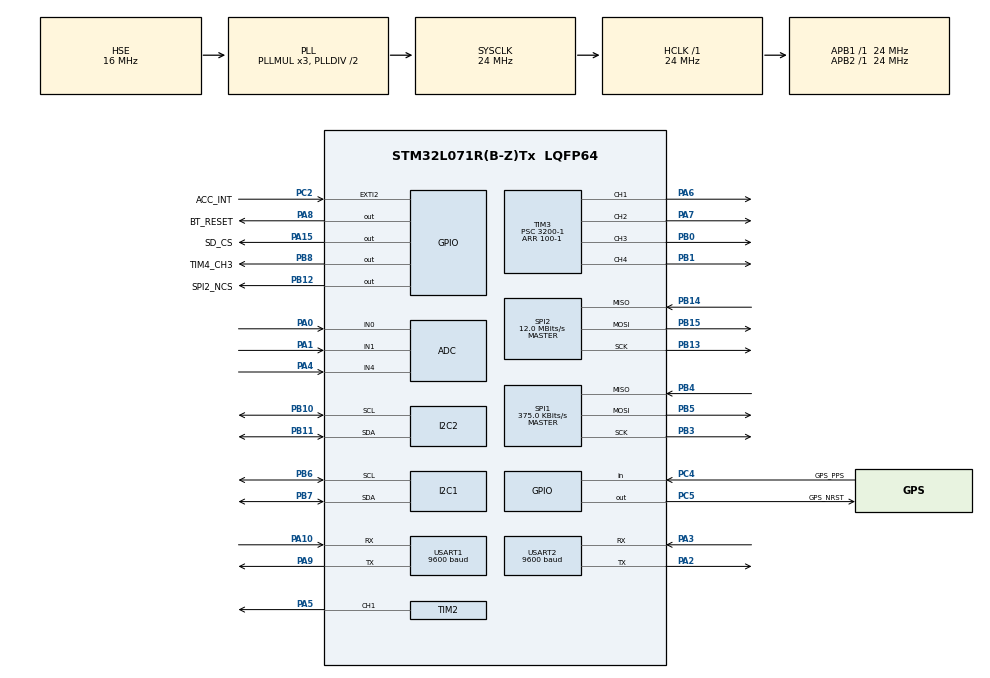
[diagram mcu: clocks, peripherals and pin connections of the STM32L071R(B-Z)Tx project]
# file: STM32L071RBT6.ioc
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Mcu.Family=STM32L0
PH0-OSC_IN.Signal=RCC_OSC_IN
SPI1.VirtualType=VM_MASTER
SPI2.VirtualType=VM_MASTER
PB10.Mode=I2C
USART1.BaudRate=9600
I2C2.Timing=0x00506682
I2C2.NoStretchMode=I2C_NOSTRETCH_DISABLE
PB11.Signal=I2C2_SDA
PB13.Signal=SPI2_SCK
PB15.Signal=SPI2_MOSI
TIM3.Channel-PWM\ Generation4\ CH4=TIM_CHANNEL_4
RCC.SYSCLKSource=RCC_SYSCLKSOURCE_PLLCLK
ProjectManager.StackSize=0x400
PA15.GPIO_Label=SD_CS
PA4.Mode=IN4
SPI1.Direction=SPI_DIRECTION_2LINES
RCC.HCLKFreq_Value=24000000
RCC.APB2TimFreq_Value=24000000
TIM3.Period=100-1
PB6.Signal=I2C1_SCL
PB6.Mode=I2C
SPI1.CalculateBaudRate=375.0 KBits/s
RCC.AHBFreq_Value=24000000
PH0-OSC_IN.Mode=HSE-External-Oscillator
TIM3.Channel-PWM\ Generation1\ CH1=TIM_CHANNEL_1
RCC.HSE_VALUE=16000000
PB3.Mode=Full_Duplex_Master
USART2.VirtualMode-Asynchronous=VM_ASYNC
PB12.GPIO_Label=SPI2_NCS
PB4.Mode=Full_Duplex_Master
I2C1.NoStretchMode=I2C_NOSTRETCH_DISABLE
PC4.GPIO_Label=GPS_PPS
PA14.Mode=Serial_Wire
PB14.Mode=Full_Duplex_Master
TIM3.Prescaler=3200-1
PB5.Mode=Full_Duplex_Master
PA0.Mode=IN0
SPI2.CalculateBaudRate=12.0 MBits/s
PB7.Signal=I2C1_SDA
PA8.Signal=GPIO_Output
TIM2.Channel-PWM\ Generation1\ CH1=TIM_CHANNEL_1
SH.S_TIM3_CH1.0=TIM3_CH1,PWM Generation1 CH1
PA0.Signal=ADC_IN0
PH1-OSC_OUT.Mode=HSE-External-Oscillator
Mcu.Package=LQFP64
TIM2.Prescaler=3200-1
PB1.Signal=S_TIM3_CH4
PA6.Signal=S_TIM3_CH1
SPI2.Mode=SPI_MODE_MASTER
PA10.Signal=USART1_RX
PA15.Signal=GPIO_Output
RCC.APB1TimFreq_Value=24000000
SPI2.Direction=SPI_DIRECTION_2LINES
PC5.Signal=GPIO_Output
PB13.Mode=Full_Duplex_Master
SPI1.BaudRatePrescaler=SPI_BAUDRATEPRESCALER_64
PC2.GPIO_Label=ACC_INT
PB4.Signal=SPI1_MISO
PA3.Signal=USART2_RX
RCC.MSI_VALUE=2097000
RCC.PLLSourceVirtual=RCC_PLLSOURCE_HSE
SH.S_TIM2_CH1.0=TIM2_CH1,PWM Generation1 CH1
PA10.Mode=Asynchronous
PC2.Signal=GPXTI2
PC4.Signal=GPIO_Input
SH.S_TIM3_CH3.0=TIM3_CH3,PWM Generation3 CH3
NVIC.USART2_IRQn=true\:0\:0\:false\:false\:true\:true\:true
USART2.BaudRate=9600
USART1.VirtualMode-Asynchronous=VM_ASYNC
PA13.Signal=SYS_SWDIO
PA3.Mode=Asynchronous
TIM3.Channel-PWM\ Generation3\ CH3=TIM_CHANNEL_3
RCC.HSI16_VALUE=16000000
PB8.GPIO_Label=TIM4_CH3
PA9.Mode=Asynchronous
PA8.GPIO_Label=BT_RESET
PB11.Mode=I2C
ProjectManager.TargetToolchain=STM32CubeIDE
PA9.Signal=USART1_TX
I2C1.Timing=0x00506682
RCC.LSE_VALUE=32768
PA1.Signal=ADC_IN1
VP_FATFS_VS_Generic.Mode=User_defined
PB10.Signal=I2C2_SCL
PB14.Signal=SPI2_MISO
PA5.Signal=S_TIM2_CH1
SH.S_TIM3_CH2.0=TIM3_CH2,PWM Generation2 CH2
board=custom
RCC.VCOOutputFreq_Value=48000000
PB15.Mode=Full_Duplex_Master
RCC.APB2Freq_Value=24000000
PA1.Mode=IN1
SPI1.Mode=SPI_MODE_MASTER
PH1-OSC_OUT.Signal=RCC_OSC_OUT
TIM2.Period=100-1
PA13.Mode=Serial_Wire
Mcu.Name=STM32L071R(B-Z)Tx
PA2.Signal=USART2_TX
PB3.Signal=SPI1_SCK
PA4.Signal=ADC_IN4
RCC.SYSCLKFreq_VALUE=24000000
PB5.Signal=SPI1_MOSI
PC5.GPIO_Label=GPS_NRST
PB7.Mode=I2C
PA14.Signal=SYS_SWCLK
ProjectManager.HeapSize=0x200
RCC.HSI_VALUE=16000000
TIM3.Channel-PWM\ Generation2\ CH2=TIM_CHANNEL_2
PA2.Mode=Asynchronous
PB8.Signal=GPIO_Output
RCC.APB1Freq_Value=24000000
USART2.Mode=MODE_RX
PB0.Signal=S_TIM3_CH3
PB12.Signal=GPIO_Output
SH.S_TIM3_CH4.0=TIM3_CH4,PWM Generation4 CH4
PA7.Signal=S_TIM3_CH2

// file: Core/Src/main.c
/* USER CODE BEGIN Header */
/**
  ******************************************************************************
  * @file           : main.c
  * @brief          : Main program body
  ******************************************************************************
  * @attention
  *
  * <h2><center>&copy; Copyright (c) 2021 STMicroelectronics.
  * All rights reserved.</center></h2>
  *
  * This software component is licensed by ST under BSD 3-Clause license,
  * the "License"; You may not use this file except in compliance with the
  * License. You may obtain a copy of the License at:
  *                        opensource.org/licenses/BSD-3-Clause
  *
  ******************************************************************************
  */
/* USER CODE END Header */
#include "main.h"
#include "fatfs.h"

/* USER CODE BEGIN Includes */
#include <stdarg.h> //for va_list var arg functions
#include "stdio.h"
#include "stdlib.h"
#include "math.h"
#include "u8g2/u8g2.h"
#include "GPS.h"
#include "SPS30.h"

/* USER CODE END Includes */

/* USER CODE BEGIN PD */

GPS_t GPS;
SPS30_t SPS30;
#define _SPS30_addr 				0x69

//#define SD_SPI_HANDLE hspi1 // overwritten in user_diskio_spi.c
char screen_str[3];
uint16_t adcData[2];
float batteryVoltage;
float batteryTemperature;
float temp;
float rh;
float comp_t;
float comp_rh;
uint16_t counter = 0;
uint8_t noSD = 1;
uint32_t millis = 0; // last measurement
uint8_t btname[12]; // SPS serial typically 16 bytes, 12 is allowed for name
uint8_t filename[11]; // 11 bytes allowed for filename length
uint8_t data[164];

FATFS FatFs; 	//Fatfs handle
FIL fil; 		//File handle
uint8_t readBuf[30];
uint8_t readBuf_old[30];
uint8_t count = 0;
uint8_t btcmd[19];
FRESULT fres; //Result after operations
/* USER CODE END PD */

ADC_HandleTypeDef hadc;

I2C_HandleTypeDef hi2c1;
I2C_HandleTypeDef hi2c2;

SPI_HandleTypeDef hspi1;
SPI_HandleTypeDef hspi2;

TIM_HandleTypeDef htim2;
TIM_HandleTypeDef htim3;

UART_HandleTypeDef huart1;
UART_HandleTypeDef huart2;

void SystemClock_Config(void);
static void MX_GPIO_Init(void);
static void MX_ADC_Init(void);
static void MX_I2C1_Init(void);
static void MX_I2C2_Init(void);
static void MX_USART1_UART_Init(void);
static void MX_USART2_UART_Init(void);
static void MX_SPI1_Init(void);
static void MX_SPI2_Init(void);
static void MX_TIM2_Init(void);
static void MX_TIM3_Init(void);

/* USER CODE BEGIN 0 */
extern uint8_t u8x8_stm32_gpio_and_delay(u8x8_t *u8x8, uint8_t msg, uint8_t arg_int, void *arg_ptr);
extern uint8_t u8x8_byte_stm32_hw_i2c(u8x8_t *u8x8, uint8_t msg, uint8_t arg_int, void *arg_ptr);

static u8g2_t u8g2;

void HAL_UART_RxCpltCallback(UART_HandleTypeDef *huart)
{
	GPS_CallBack();
//	HAL_UART_Receive_DMA(&huart1, readBuf, 8);
}

//##################################################################################################################
double convertDegMinToDecDeg (float degMin)
{
  double min = 0.0;
  double decDeg = 0.0;

  //get the minutes, fmod() requires double
  min = fmod((double)degMin, 100.0);

  //rebuild coordinates in decimal degrees
  degMin = (int) ( degMin / 100 );
  decDeg = degMin + ( min / 60 );

  return decDeg;
}
//##################################################################################################################
void	GPS_Init()
{
	// Note: GPS_NRST sets the GPS LED, not the reset apparently
//	memset(&GPS.GPGGA,0,sizeof(GPS.GPGGA));  // resets GPGGA to 0
	GPS.rxIndex=0;
	HAL_UART_Receive_IT(&huart2,&GPS.rxTmp,1);
//	HAL_UART_Receive(&huart2,&GPS.rxBuffer,32, HAL_MAX_DELAY);
//	HAL_UART_Receive_DMA(&huart2,&GPS.rxBuffer,32);

}
//##################################################################################################################
void	GPS_CallBack() /* Receiving GPS UART buffer byte by byte until it starts repeating */
{
	HAL_UART_Receive_IT(&huart2,&GPS.rxTmp,1);
//	HAL_UART_Receive_DMA(&huart2,&GPS.rxBuffer,32);
//	HAL_UART_Receive(&huart2,&GPS.rxBuffer,32, HAL_MAX_DELAY);
//	HAL_Delay(50);

	/* We expect 14 NMEA sentences separated by a $ symbol */
	GPS.rxBuffer[GPS.rxIndex] = GPS.rxTmp;
//	if (GPS.rxTmp == 36) GPS.nmeaCounter++;
	GPS.rxIndex++;
//	if (GPS.nmeaCounter >= 13)
	if (GPS.rxTmp == 13 || GPS.rxIndex == 80) GPS_Process(); // 36 is '$' in UTF8
}
//##################################################################################################################
void	GPS_Process()
{
	char	*str = 0x0;
//	char	*str2;
	char	*str3 = 0x0;
//	#if (_GPS_DEBUG==1)
//	printf("%s",GPS.rxBuffer);
//	#endif
	int result = -2; // check how many characters have been read from buffer (-1 = EOF)
	GPS.GPGGA.Buffer_Size = strlen(GPS.rxBuffer);
	if (GPS.GPGGA.Buffer_Size > 80)
		GPS.count++; // just to test if we ever read more than the buffer size
	if (str = strstr((char*)GPS.rxBuffer,"GNGGA,")) {
//		memset(&GPS.GPGGA,0,sizeof(GPS.GPGGA));  // resets GPGGA to 0
		// GNGGA for where the position is in the buffer
		if (result = sscanf(str,"GNGGA,%f,%f,%c,%f,%c,%d,%d,%f,%f",&GPS.GPGGA.HHMMSS,&GPS.GPGGA.Latitude,&GPS.GPGGA.NS_Indicator,&GPS.GPGGA.Longitude,&GPS.GPGGA.EW_Indicator,&GPS.GPGGA.PositionFixIndicator,&GPS.GPGGA.SatellitesUsed,&GPS.GPGGA.HDOP,&GPS.GPGGA.MSL_Altitude) > 0) {  // GNGGA instead of GPGGA
			if(GPS.GPGGA.PositionFixIndicator>0)
				GPS.GPGGA.PositionFixIndicator=1;
			if(GPS.GPGGA.NS_Indicator==0)
				GPS.GPGGA.NS_Indicator='-';
			if(GPS.GPGGA.EW_Indicator==0)
				GPS.GPGGA.EW_Indicator='-';
			if(GPS.GPGGA.Geoid_Units==0)
				GPS.GPGGA.Geoid_Units='-';
			if(GPS.GPGGA.MSL_Units==0)
				GPS.GPGGA.MSL_Units='-';
			if (GPS.GPGGA.Latitude == 0.0f || GPS.GPGGA.Longitude == 0.0f) {
				GPS.GPGGA.LatitudeDecimal = 0.0f;
				GPS.GPGGA.LongitudeDecimal = 0.0f;
			} else {
				GPS.GPGGA.LatitudeDecimal=convertDegMinToDecDeg(GPS.GPGGA.Latitude);
				if (GPS.GPGGA.NS_Indicator=="S") GPS.GPGGA.LatitudeDecimal *= -1; // subject to testing 21/04/2021
				GPS.GPGGA.LongitudeDecimal=convertDegMinToDecDeg(GPS.GPGGA.Longitude);
				if (GPS.GPGGA.EW_Indicator=="E") GPS.GPGGA.LongitudeDecimal *= -1; // subject to testing 21/04/2021
			}
			GPS.GPGGA.UTC_Hour = (int)(GPS.GPGGA.HHMMSS/10000.f);
			GPS.GPGGA.UTC_Min = (int)GPS.GPGGA.HHMMSS%10000/100.f;
			GPS.GPGGA.UTC_Sec = (int)GPS.GPGGA.HHMMSS%100;
		}
	}
//	else if (str2 = strstr((char*)GPS.rxBuffer,"GNZDA,")) { // GNZDA for where the date is in the buffer
//		// format: GNZDA,181815.000,03,02,2021
//		if (result = sscanf(str2,"GNZDA,%*f,%d,%d,%d,",&GPS.GPGGA.UTC_Day,&GPS.GPGGA.UTC_Month,&GPS.GPGGA.UTC_Year) > 0) {
//			GPS.GPGGA.YYYYMMDD = 10000*GPS.GPGGA.UTC_Year+100*GPS.GPGGA.UTC_Month+GPS.GPGGA.UTC_Day;
//			if (GPS.GPGGA.YYYYMMDD < 19700000) GPS.GPGGA.YYYYMMDD = 0;
//		}
//	}
	else if (str3 = strstr((char*)GPS.rxBuffer,"GNRMC,")) { // GNRMC for where the speed is in the buffer
		uint8_t speed[5];
		if (result = sscanf(str3,"GNRMC,%*f,%*c,%*f,%*c,%*f,%*c,%4s,%*f,%d,",&speed,&GPS.GPGGA.YYYYMMDD) > 0) {
			GPS.GPGGA.Speed_KTS = atof(speed);
			GPS.GPGGA.Speed_KMH = 1.852f * GPS.GPGGA.Speed_KTS; // conversion from knots to km/h
		}
//		else {
//			GPS.GPGGA.Speed_KTS = -1;
//			GPS.GPGGA.Speed_KMH = -1;
//		}
	}
	memset(GPS.rxBuffer,0,sizeof(GPS.rxBuffer)); // resets rxBuffer
	GPS.rxIndex=0;
//	GPS.nmeaCounter=0;
	GPS.LastTime=HAL_GetTick();
}
//##################################################################################################################

char * screen_format(int val) {
	if (val < 99 && val >= -9) {
		if (val <= 9) {
			sprintf(screen_str, " %d", val);
		} else {
			sprintf(screen_str, "%d", val);
		}

	} else {
		sprintf(screen_str, "%d", 99);
	}

	return screen_str;
}

int Linear(int AQIhigh, int AQIlow, float Conchigh, float Conclow, float Conc) {
	return ((Conc-Conclow)/(Conchigh-Conclow))*(AQIhigh-AQIlow)+AQIlow;
}

int AQIPM25(float c) {

	if (c>=0 && c<12.1)
	{
		return(Linear(50,0,12,0,c));
	}
	else if (c>=12.1 && c<35.5)
	{
		return(Linear(100,51,35.4,12.1,c));
	}
	else if (c>=35.5 && c<55.5)
	{
		return(Linear(150,101,55.4,35.5,c));
	}
	else if (c>=55.5 && c<150.5)
	{
		return(Linear(200,151,150.4,55.5,c));
	}
	else if (c>=150.5 && c<250.5)
	{
		return(Linear(300,201,250.4,150.5,c));
	}
	else if (c>=250.5 && c<500)
	{
		return(Linear(500,301,500.4,250.5,c));
	}
	else return 500;

}

void gps_dots(int gps_satellites, int fix) {
	if (gps_satellites > 0) u8g2_DrawRBox(&u8g2, 126, 11, 2, 2, 1); // any fix = 1 bar
	if (gps_satellites > 3) u8g2_DrawRBox(&u8g2, 123, 11, 2, 4, 1); // indoors I typically have 4-5 sats
	if (gps_satellites > 4) u8g2_DrawRBox(&u8g2, 120, 11, 2, 6, 1);
	if (gps_satellites > 5) u8g2_DrawRBox(&u8g2, 117, 11, 2, 8, 1);
}

void battery_dots_vert(float voltage) {
    if (voltage < 3.2) // then battery has ~30min remaining
		if (counter%2 == 0) return;
    u8g2_DrawRFrame(&u8g2, 117-0, 0, 11, 8, 1);
    u8g2_DrawRBox(&u8g2, 116-0, 3, 2, 2, 1);
	if (voltage > 3.2) u8g2_DrawRBox(&u8g2, 127-0, 2, 2, 4, 1); // -62
	if (voltage > 3.35) u8g2_DrawRBox(&u8g2, 125-0, 2, 2, 4, 1);
	if (voltage > 3.45) u8g2_DrawRBox(&u8g2, 123-0, 2, 2, 4, 1);
	if (voltage > 3.55) u8g2_DrawRBox(&u8g2, 121-0, 2, 2, 4, 1);
	if (voltage > 3.65) u8g2_DrawRBox(&u8g2, 119-0, 2, 2, 4, 1);
}

void initDisplay() {

	  /* I2C Interface */
	  u8g2_Setup_ssd1306_i2c_128x32_univision_f(&u8g2, U8G2_R0, u8x8_byte_stm32_hw_i2c, u8x8_stm32_gpio_and_delay);
//	  u8g2_setBusClock

	  /* Initialize Display */
	  u8g2_InitDisplay(&u8g2);
	  u8g2_SetPowerSave(&u8g2, 0);
	  u8g2_SetFontDirection(&u8g2, 2);

}

void updateDisplay() {

	  float pm25 = SPS30.spsData[1];
	  char screen_str[16];

	  float aqi = AQIPM25(pm25);
	  int barwidth = (128-55);
	  int aqi_width = barwidth*aqi/500. +2;

	  int gps_satellites = GPS.GPGGA.SatellitesUsed;

	  float vbat = batteryVoltage;

	  u8g2_FirstPage(&u8g2);
	  		do
	  		{
	  			u8g2_ClearBuffer(&u8g2);

	  			// numbers
	  	  u8g2_SetFont(&u8g2, u8g2_font_logisoso30_tn);
          u8g2_DrawStr(&u8g2, 50, 0, screen_format((int)pm25));
          u8g2_SetFont(&u8g2, u8g2_font_logisoso16_tn);
          if (pm25<100) sprintf(screen_str, ".%d", (int)(pm25*10)%10);
          else sprintf(screen_str, ".%d", 9);
          u8g2_DrawStr(&u8g2, 14, 14, screen_str);
          if (noSD == 1) {
        	  u8g2_SetFont(&u8g2, u8g2_font_profont17_tf);
        	  if (counter%2 == 0) u8g2_DrawStr(&u8g2, 128-24+0, 0, "No SD");
          }
          else { /* we compensate for the board temperature heating by offsetting the shown value by -4C */
              u8g2_SetFont(&u8g2, u8g2_font_logisoso18_tn);
        	  u8g2_DrawStr(&u8g2, 128-50+0, 0, screen_format(round(comp_rh))); // GPS.GPGGA.UTC_Min
        	  u8g2_DrawStr(&u8g2, 128-20+0, 0, screen_format(round(comp_t))); // GPS.GPGGA.UTC_Hour
          }
          u8g2_SetFont(&u8g2, u8g2_font_profont10_tf);

          // gps
          gps_dots(gps_satellites, GPS.GPGGA.PositionFixIndicator);

          // battery
          battery_dots_vert(vbat);

          // air quality indicator
          u8g2_DrawRFrame(&u8g2, 128-barwidth, 27, barwidth, 7, 1);
          u8g2_DrawRBox(&u8g2, 128-aqi_width, 27, aqi_width, 5, 1);

	  		} while (u8g2_NextPage(&u8g2));
}

void welcomeDisplay() {

	u8g2_FirstPage(&u8g2);
	do
	{
		u8g2_ClearBuffer(&u8g2);
		u8g2_SetFont(&u8g2, u8g2_font_profont17_tf);
		u8g2_DrawStr(&u8g2, 127, 20, "open-seneca");
		u8g2_SetFont(&u8g2, u8g2_font_profont10_tf);
		u8g2_DrawStr(&u8g2, 127, 4, "air quality sensor ...");
	} while (u8g2_NextPage(&u8g2));

}

void lowBatteryDisplay() {

	u8g2_FirstPage(&u8g2);
	u8g2_NextPage(&u8g2);
	HAL_Delay(1000);
	u8g2_DrawRFrame(&u8g2, 117-0, 0, 11, 8, 1);
	u8g2_DrawRBox(&u8g2, 116-0, 3, 2, 2, 1);
	u8g2_NextPage(&u8g2);
	HAL_Delay(1000);

}

// Calculating checksum. Function provided in SPS30 datasheet
uint8_t CalcCrc(uint8_t data[2]) {
	uint8_t crc = 0xFF;
	for(int i = 0; i < 2; i++) {
	crc ^= data[i];
	for(uint8_t bit = 8; bit > 0; --bit) {
	  if(crc & 0x80) {
	  crc = (crc << 1) ^ 0x31u;
	  } else {
		crc = (crc << 1);
	   }
	 }
	}
	return crc;
}

int SHTC3_read_data() { // for sht21

	  /* Clock stretching enabled, read T first */
	  uint8_t txBuf[2] = {0x7C, 0xA2};
	  HAL_StatusTypeDef status = HAL_I2C_Master_Transmit(&hi2c1, (0x70<<1), &txBuf, 2, HAL_MAX_DELAY);

	  if (status != HAL_OK) {
		  return -1;
	  }

	  /* Read both t and rh */
	  uint8_t rxBuf[6];

	  status = HAL_I2C_Master_Receive(&hi2c1, (0x70 << 1), (uint8_t *) rxBuf, 6, HAL_MAX_DELAY);

	  if (status != HAL_OK) {
		  return -1;
	  }

	  /* Test checksum with first 2 bytes */
	  if (CalcCrc(rxBuf) != rxBuf[2]) return -1;

	  uint16_t val = (int16_t) ((rxBuf[0] << 8) | rxBuf[1]);
	  temp = 0.00267028808f * val - 45.0f;

	  val = (int16_t) ((rxBuf[3] << 8) | rxBuf[4]);

	  rh = 0.0015258789f * val;

	  return 1;

}

float compensateRH(float RH_sensor, float T_sensor, float dT) {
	float c1 = 17.62;
	float c2 = 243.12;
	float c3 = 275.15;

	float T_real = T_sensor + dT;

	return ((c3 + T_real) * RH_sensor * exp( c1 * ((T_sensor/(c2 + T_sensor)) - (T_real/(c2 + T_real))) )) / (c3 + T_sensor);
}

float compensateT(float T_sensor, float dT) {
	return T_sensor+dT;
}

void initRGBLED() {

	HAL_TIM_PWM_Start(&htim2, TIM_CHANNEL_1);
	HAL_TIM_PWM_Start(&htim3, TIM_CHANNEL_1);
	HAL_TIM_PWM_Start(&htim3, TIM_CHANNEL_2);
	HAL_TIM_PWM_Start(&htim3, TIM_CHANNEL_3);
	HAL_TIM_PWM_Start(&htim3, TIM_CHANNEL_4);
//	HAL_TIM_PWM_Start(&htim4, TIM_CHANNEL_3); is only GPIO not PWM channel for L071 STM
	HAL_GPIO_WritePin(GPIOB, TIM4_CH3_Pin, GPIO_PIN_SET);

	setAirLED(100, 100, 100);
	setStatLED(100, 100, 100);

}

void setStatLED(int r, int g, int b) { // values 0-100

	htim2.Instance->CCR1 = r;
	htim3.Instance->CCR1 = g;
	htim3.Instance->CCR2 = b;

}

void setAirLED(int r, int g, int b) { // values 0-100

	htim3.Instance->CCR3 = r;
	htim3.Instance->CCR4 = g;
//	htim4.Instance->CCR3 = b; is only GPIO not PWM channel for L071 STM
	if (b>49) HAL_GPIO_WritePin(GPIOB, TIM4_CH3_Pin, GPIO_PIN_SET);
	else HAL_GPIO_WritePin(GPIOB, TIM4_CH3_Pin, GPIO_PIN_RESET);

}

void AirLED_on() {
	if (SPS30.spsData[1] > 30) setAirLED(0, 100, 100); // red
	else if (SPS30.spsData[1] > 10) setAirLED(0, 0, 100); // yellow
	else setAirLED(100, 0, 100); // green
}

void AirLED_off() {
	setAirLED(100, 100, 100);
}

void renameBT() {

	/* max length of hm11 name is 12 */
	sprintf(btname, "%s%c%c%c", "OPEN-SENE", SPS30.serial[13], SPS30.serial[14], SPS30.serial[15]);
//	uint8_t btcmd[19];
	sprintf(btcmd, "%s%s", "AT+NAME", btname);
	HAL_UART_Transmit(&huart1, btcmd, 19, HAL_MAX_DELAY);
	HAL_Delay(50);
	HAL_GPIO_WritePin(GPIOA, BT_RESET_Pin, GPIO_PIN_RESET);
	HAL_Delay(50);
	HAL_GPIO_WritePin(GPIOA, BT_RESET_Pin, GPIO_PIN_SET);

}

void generateFilename() {
	int filenumber = 0;
	FRESULT res;
	FILINFO fno;
	/* first 3 digits from SPS SN, then 4 digit file counter */
	while (res == FR_OK) {
		sprintf(filename, "%c%c%c%04d.csv", SPS30.serial[13], SPS30.serial[14], SPS30.serial[15], filenumber);
		res = f_stat(filename, &fno); // checking status (or existence rather) of the file
		filenumber++;
	}
}

void myprintf(const char *fmt, ...) {
  static char buffer[256];
  va_list args;
  va_start(args, fmt);
  vsnprintf(buffer, sizeof(buffer), fmt, args);
  va_end(args);

  int len = strlen(buffer);
  HAL_UART_Transmit(&huart1, (uint8_t*)buffer, len, HAL_MAX_DELAY);

}

int saveToSD(uint8_t *dBuf, uint8_t dBufLen) {

	//Open a file for writing
	if (f_open(&fil, filename, FA_WRITE | FA_OPEN_APPEND) != FR_OK) return -1;

	UINT bytesWrote;//Number of bytes written
	if (f_write(&fil, dBuf, dBufLen, &bytesWrote) != FR_OK) return -1;

	//Close the file after writing
	if (f_close(&fil) != FR_OK) return -1;

//	//De-mount the drive
//	if (f_mount(NULL, "", 0) != FR_OK) return -1;

	return bytesWrote;
}

int writeFileHeader() {

	//Open a file for writing
	if (f_open(&fil, filename, FA_WRITE | FA_OPEN_APPEND) != FR_OK) return -1;

	UINT bytesWrote;//Number of bytes written
	uint8_t details[39];
	uint8_t length = sprintf(details, "STM32_v0.10,,,SPS30_SN:%s\n", SPS30.serial);
	if (f_write(&fil, details, length, &bytesWrote) != FR_OK) return -1;

	uint8_t header[195];
	length = sprintf(header, "Counter,Latitude,Longitude,gpsUpdated,Speed,Altitude,Satellites,Date,Time,Millis,PM1.0,PM2.5,PM4.0,PM10,Temperature,Humidity,NC0.5,NC1.0,NC2.5,NC4.0,NC10,TypicalParticleSize,TVOC,eCO2,BatteryVIN,compensatedT,compensatedRH,UID\n");
	if (f_write(&fil, header, length, &bytesWrote) != FR_OK) return -1;

	//Close the file after writing
	if (f_close(&fil) != FR_OK) return -1;

}

void updateADC() {

	  HAL_ADC_Start(&hadc);
	  HAL_ADC_PollForConversion(&hadc, HAL_MAX_DELAY);
	  adcData[0] = HAL_ADC_GetValue(&hadc);
	  batteryVoltage = adcData[0] * 0.00112556008f;

}

//##################################################################################################################

void SPS30_start_measurement(void){
	uint8_t arg[2] = {0x03, 0x00};
	uint8_t txBuf[5] = {0x00, 0x10, 0x03, 0x00, CalcCrc(arg)};
	memset(&SPS30.spsData,0,sizeof(SPS30.spsData));
	HAL_StatusTypeDef status = HAL_I2C_Master_Transmit(&hi2c2, (_SPS30_addr<<1), &txBuf, 5, HAL_MAX_DELAY);

}

void SPS30_stop_measurement(void){
	uint8_t txBuf[2] = {0x01, 0x04};
	HAL_StatusTypeDef status = HAL_I2C_Master_Transmit(&hi2c2, (_SPS30_addr<<1), &txBuf, 2, HAL_MAX_DELAY);
}

uint8_t SPS30_read_data(){
	uint8_t txBuf[2] = {0x03, 0x00};
	uint8_t rxBuf[60];
	HAL_StatusTypeDef status = HAL_I2C_Master_Transmit(&hi2c2, (_SPS30_addr<<1), &txBuf, 2, HAL_MAX_DELAY);
	status = HAL_I2C_Master_Receive(&hi2c2, (_SPS30_addr<<1), &rxBuf, sizeof(rxBuf), HAL_MAX_DELAY);
	for (int i=0; i<10; i++) { // 60 register buffer with 6 registers per float value
		uint8_t b1 = rxBuf[i*6];
		uint8_t b2 = rxBuf[i*6+1]; // rxBuf[i*6+2] is checksum byte
		uint8_t b3 = rxBuf[i*6+3];
		uint8_t b4 = rxBuf[i*6+4]; // rxBuf[i*6+5] is checksum byte
		uint32_t value = (b1<<24)|(b2<<16)|(b3<<8)|(b4<<0); // merge bytes in correct order
		SPS30.spsData[i] = *(float*)&value; // convert to float
	}
	if (status == HAL_OK && SPS30.spsData[1] > 0.0f) return 1;
	return 0;
}

uint8_t SPS30_data_ready(void){
	uint8_t txBuf[2] = {0x02, 0x02};
	uint8_t rxBuf[2];
	HAL_StatusTypeDef status = HAL_I2C_Master_Transmit(&hi2c2, (_SPS30_addr<<1), &txBuf, 2, HAL_MAX_DELAY);
	status = HAL_I2C_Master_Receive(&hi2c2, (_SPS30_addr<<1), &rxBuf, sizeof(rxBuf), HAL_MAX_DELAY);
	return rxBuf[1]; // 0x01 if data is ready, 0x00 if not
 }

void SPS30_clean_fan(void){
	uint8_t txBuf[2] = {0x56, 0x07};
 	HAL_StatusTypeDef status = HAL_I2C_Master_Transmit(&hi2c2, (_SPS30_addr<<1), &txBuf, 2, HAL_MAX_DELAY);
}

void SPS30_get_serial(void){
	uint8_t txBuf[2] = {0xD0, 0x33};
	uint8_t spsSerial[32];
	HAL_StatusTypeDef status = HAL_I2C_Master_Transmit(&hi2c2, (_SPS30_addr<<1), &txBuf, 2, HAL_MAX_DELAY);
	HAL_Delay(20);
	status = HAL_I2C_Master_Receive(&hi2c2, (_SPS30_addr<<1), &spsSerial, sizeof(spsSerial), HAL_MAX_DELAY);
}

void SPS30_reset(void){
	uint8_t txBuf[2] = {0xD3, 0x04};
 	HAL_StatusTypeDef status = HAL_I2C_Master_Transmit(&hi2c2, (_SPS30_addr<<1), &txBuf, 2, HAL_MAX_DELAY);

}

void SPS30_read_serialnumber(void){
	uint8_t txBuf[2] = {0xD0, 0x33};
	uint8_t rxBuf[48];
	HAL_StatusTypeDef status = HAL_I2C_Master_Transmit(&hi2c2, (_SPS30_addr<<1), &txBuf, 2, HAL_MAX_DELAY);
	status = HAL_I2C_Master_Receive(&hi2c2, (_SPS30_addr<<1), &rxBuf, sizeof(rxBuf), HAL_MAX_DELAY);
	if (status == HAL_ERROR) {
		sprintf(SPS30.serial, "AQ-SENSOR");
		return;
	}
	uint8_t k=0;
	for (int i=0; i<sizeof(rxBuf); i++) { // every 3 bytes there is a checksum
		if (i%3==0) {
			uint8_t arg[2] = {rxBuf[i],rxBuf[i+1]};
			if (CalcCrc(arg) != rxBuf[i+2])
				return 0;
		} else {
		SPS30.serial[k] = rxBuf[i-1];
		k++;
		}
	}
 }

//##################################################################################################################

/* USER CODE END 0 */

int main(void)
{

  /* MCU Configuration--------------------------------------------------------*/

  /* Reset of all peripherals, Initializes the Flash interface and the Systick. */
  HAL_Init();

  /* Configure the system clock */
  SystemClock_Config();

  /* Initialize all configured peripherals */
  MX_GPIO_Init();
  MX_ADC_Init();
  MX_I2C1_Init();
  MX_I2C2_Init();
  MX_USART1_UART_Init();
  MX_USART2_UART_Init();
  MX_FATFS_Init();
  MX_SPI1_Init();
  MX_SPI2_Init();
  MX_TIM2_Init();
  MX_TIM3_Init();
  /* USER CODE BEGIN 2 */

  HAL_Delay(50);
  updateADC(); // if battery voltage is too low, prevent boot
  HAL_Delay(50);
//    if (batteryVoltage < 2.75f) while(1) lowBatteryDisplay();

  HAL_GPIO_WritePin(GPIOA, BT_RESET_Pin, GPIO_PIN_SET);
  HAL_Delay(50);
  initRGBLED();
  HAL_Delay(50);
  initDisplay();
  welcomeDisplay();
  HAL_Delay(50);
  MX_I2C2_Init(); // reset i2c2 again (needed for it to work!)
  HAL_Delay(50);
  SPS30_start_measurement();
  HAL_Delay(50);
  SPS30_read_serialnumber();
  HAL_Delay(50);
  renameBT();
  SPS30_clean_fan();

  //Mount the file system
  f_mount(&FatFs, "", 1);
  generateFilename();
  writeFileHeader();

  /* USER CODE END 2 */

  /* Infinite loop */
  while (1)
  {

    /* USER CODE BEGIN 3 */

	  /* Show boot screen until values first become none-zero */
	  while (SPS30_read_data() != 1)
		  HAL_Delay(100);
	  HAL_Delay(50);
	  SHTC3_read_data();

	  comp_t = compensateT(temp, -4);
	  comp_rh = compensateRH(rh, temp, -4);
	  updateADC();
	  millis = HAL_GetTick();

	  /* Format output data string */
	  uint8_t length = sprintf(data, "%d,%f,%f,%d," // counter, lat, lon, fix
			  "%.1f,%.1f,%d,%d,%06.0f,%d," // speed, alt, sat, date, time, millis
			  "%.2f,%.2f,%.2f,%.2f,%.1f,%.1f," // pm1, pm25, pm4, pm10, t, rh
			  "%.2f,%.2f,%.2f,%.2f,%.2f,%.2f,%d,%d,%.2f,%.1f,%.1f,%c%c%c\n", // nc0.5, nc1.0, nc2.5, nc4.0, nc10, psize, tvoc, eco2, vbat
			  counter, GPS.GPGGA.LatitudeDecimal, GPS.GPGGA.LongitudeDecimal, GPS.GPGGA.PositionFixIndicator,
			  GPS.GPGGA.Speed_KMH, GPS.GPGGA.MSL_Altitude, GPS.GPGGA.SatellitesUsed, GPS.GPGGA.YYYYMMDD, GPS.GPGGA.HHMMSS, millis,
			  SPS30.spsData[0], SPS30.spsData[1], SPS30.spsData[2], SPS30.spsData[3], temp, rh,
			  SPS30.spsData[4], SPS30.spsData[5], SPS30.spsData[6], SPS30.spsData[7], SPS30.spsData[8], SPS30.spsData[9],
			  0, 0, batteryVoltage, comp_t, comp_rh, SPS30.serial[13], SPS30.serial[14], SPS30.serial[15]);

	  /* Send data via BT and COM, save to SD */
	  AirLED_on();
//		  CDC_Transmit_FS(data, length); // required for COM port
	  HAL_UART_Transmit(&huart1, data, length, HAL_MAX_DELAY);
	  if (saveToSD(&data, length) == -1) noSD = 1;
	  else noSD = 0;
	  AirLED_off();

	  /* Update the display */
	  updateDisplay();
//	  __disable_irq();
//	  __enable_irq();
	  GPS_Init(); // GPS interrupt needs to be re-initialised after each i2c action

	  /* Increase counter and wait */
	  counter++;
	  while (HAL_GetTick()-millis < 1000) {
		  HAL_Delay(10); // does increasing this delay save power?
	  }
  }
  /* USER CODE END 3 */
}

void SystemClock_Config(void)
{
  RCC_OscInitTypeDef RCC_OscInitStruct = {0};
  RCC_ClkInitTypeDef RCC_ClkInitStruct = {0};
  RCC_PeriphCLKInitTypeDef PeriphClkInit = {0};

  /** Configure the main internal regulator output voltage
  */
  __HAL_PWR_VOLTAGESCALING_CONFIG(PWR_REGULATOR_VOLTAGE_SCALE1);
  /** Initializes the RCC Oscillators according to the specified parameters
  * in the RCC_OscInitTypeDef structure.
  */
  RCC_OscInitStruct.OscillatorType = RCC_OSCILLATORTYPE_HSE;
  RCC_OscInitStruct.HSEState = RCC_HSE_ON;
  RCC_OscInitStruct.PLL.PLLState = RCC_PLL_ON;
  RCC_OscInitStruct.PLL.PLLSource = RCC_PLLSOURCE_HSE;
  RCC_OscInitStruct.PLL.PLLMUL = RCC_PLLMUL_3;
  RCC_OscInitStruct.PLL.PLLDIV = RCC_PLLDIV_2;
  if (HAL_RCC_OscConfig(&RCC_OscInitStruct) != HAL_OK)
  {
    Error_Handler();
  }
  /** Initializes the CPU, AHB and APB buses clocks
  */
  RCC_ClkInitStruct.ClockType = RCC_CLOCKTYPE_HCLK|RCC_CLOCKTYPE_SYSCLK
                              |RCC_CLOCKTYPE_PCLK1|RCC_CLOCKTYPE_PCLK2;
  RCC_ClkInitStruct.SYSCLKSource = RCC_SYSCLKSOURCE_PLLCLK;
  RCC_ClkInitStruct.AHBCLKDivider = RCC_SYSCLK_DIV1;
  RCC_ClkInitStruct.APB1CLKDivider = RCC_HCLK_DIV1;
  RCC_ClkInitStruct.APB2CLKDivider = RCC_HCLK_DIV1;

  if (HAL_RCC_ClockConfig(&RCC_ClkInitStruct, FLASH_LATENCY_1) != HAL_OK)
  {
    Error_Handler();
  }
  PeriphClkInit.PeriphClockSelection = RCC_PERIPHCLK_USART1|RCC_PERIPHCLK_USART2
                              |RCC_PERIPHCLK_I2C1;
  PeriphClkInit.Usart1ClockSelection = RCC_USART1CLKSOURCE_PCLK2;
  PeriphClkInit.Usart2ClockSelection = RCC_USART2CLKSOURCE_PCLK1;
  PeriphClkInit.I2c1ClockSelection = RCC_I2C1CLKSOURCE_PCLK1;
  if (HAL_RCCEx_PeriphCLKConfig(&PeriphClkInit) != HAL_OK)
  {
    Error_Handler();
  }
}

static void MX_ADC_Init(void)
{

  ADC_ChannelConfTypeDef sConfig = {0};

  /** Configure the global features of the ADC (Clock, Resolution, Data Alignment and number of conversion)
  */
  hadc.Instance = ADC1;
  hadc.Init.OversamplingMode = DISABLE;
  hadc.Init.ClockPrescaler = ADC_CLOCK_SYNC_PCLK_DIV2;
  hadc.Init.Resolution = ADC_RESOLUTION_12B;
  hadc.Init.SamplingTime = ADC_SAMPLETIME_1CYCLE_5;
  hadc.Init.ScanConvMode = ADC_SCAN_DIRECTION_FORWARD;
  hadc.Init.DataAlign = ADC_DATAALIGN_RIGHT;
  hadc.Init.ContinuousConvMode = DISABLE;
  hadc.Init.DiscontinuousConvMode = DISABLE;
  hadc.Init.ExternalTrigConvEdge = ADC_EXTERNALTRIGCONVEDGE_NONE;
  hadc.Init.ExternalTrigConv = ADC_SOFTWARE_START;
  hadc.Init.DMAContinuousRequests = DISABLE;
  hadc.Init.EOCSelection = ADC_EOC_SINGLE_CONV;
  hadc.Init.Overrun = ADC_OVR_DATA_PRESERVED;
  hadc.Init.LowPowerAutoWait = DISABLE;
  hadc.Init.LowPowerFrequencyMode = DISABLE;
  hadc.Init.LowPowerAutoPowerOff = DISABLE;
  if (HAL_ADC_Init(&hadc) != HAL_OK)
  {
    Error_Handler();
  }
  /** Configure for the selected ADC regular channel to be converted.
  */
  sConfig.Channel = ADC_CHANNEL_0;
  sConfig.Rank = ADC_RANK_CHANNEL_NUMBER;
  if (HAL_ADC_ConfigChannel(&hadc, &sConfig) != HAL_OK)
  {
    Error_Handler();
  }
  /** Configure for the selected ADC regular channel to be converted.
  */
  sConfig.Channel = ADC_CHANNEL_1;
  if (HAL_ADC_ConfigChannel(&hadc, &sConfig) != HAL_OK)
  {
    Error_Handler();
  }
  /** Configure for the selected ADC regular channel to be converted.
  */
  sConfig.Channel = ADC_CHANNEL_4;
  if (HAL_ADC_ConfigChannel(&hadc, &sConfig) != HAL_OK)
  {
    Error_Handler();
  }

}

static void MX_I2C1_Init(void)
{

  hi2c1.Instance = I2C1;
  hi2c1.Init.Timing = 0x00506682;
  hi2c1.Init.OwnAddress1 = 0;
  hi2c1.Init.AddressingMode = I2C_ADDRESSINGMODE_7BIT;
  hi2c1.Init.DualAddressMode = I2C_DUALADDRESS_DISABLE;
  hi2c1.Init.OwnAddress2 = 0;
  hi2c1.Init.OwnAddress2Masks = I2C_OA2_NOMASK;
  hi2c1.Init.GeneralCallMode = I2C_GENERALCALL_DISABLE;
  hi2c1.Init.NoStretchMode = I2C_NOSTRETCH_DISABLE;
  if (HAL_I2C_Init(&hi2c1) != HAL_OK)
  {
    Error_Handler();
  }
  /** Configure Analogue filter
  */
  if (HAL_I2CEx_ConfigAnalogFilter(&hi2c1, I2C_ANALOGFILTER_ENABLE) != HAL_OK)
  {
    Error_Handler();
  }
  /** Configure Digital filter
  */
  if (HAL_I2CEx_ConfigDigitalFilter(&hi2c1, 0) != HAL_OK)
  {
    Error_Handler();
  }

}

static void MX_I2C2_Init(void)
{

  hi2c2.Instance = I2C2;
  hi2c2.Init.Timing = 0x00506682;
  hi2c2.Init.OwnAddress1 = 0;
  hi2c2.Init.AddressingMode = I2C_ADDRESSINGMODE_7BIT;
  hi2c2.Init.DualAddressMode = I2C_DUALADDRESS_DISABLE;
  hi2c2.Init.OwnAddress2 = 0;
  hi2c2.Init.OwnAddress2Masks = I2C_OA2_NOMASK;
  hi2c2.Init.GeneralCallMode = I2C_GENERALCALL_DISABLE;
  hi2c2.Init.NoStretchMode = I2C_NOSTRETCH_DISABLE;
  if (HAL_I2C_Init(&hi2c2) != HAL_OK)
  {
    Error_Handler();
  }
  /** Configure Analogue filter
  */
  if (HAL_I2CEx_ConfigAnalogFilter(&hi2c2, I2C_ANALOGFILTER_ENABLE) != HAL_OK)
  {
    Error_Handler();
  }
  /** Configure Digital filter
  */
  if (HAL_I2CEx_ConfigDigitalFilter(&hi2c2, 0) != HAL_OK)
  {
    Error_Handler();
  }

}

static void MX_SPI1_Init(void)
{

  /* SPI1 parameter configuration*/
  hspi1.Instance = SPI1;
  hspi1.Init.Mode = SPI_MODE_MASTER;
  hspi1.Init.Direction = SPI_DIRECTION_2LINES;
  hspi1.Init.DataSize = SPI_DATASIZE_8BIT;
  hspi1.Init.CLKPolarity = SPI_POLARITY_LOW;
  hspi1.Init.CLKPhase = SPI_PHASE_1EDGE;
  hspi1.Init.NSS = SPI_NSS_SOFT;
  hspi1.Init.BaudRatePrescaler = SPI_BAUDRATEPRESCALER_64;
  hspi1.Init.FirstBit = SPI_FIRSTBIT_MSB;
  hspi1.Init.TIMode = SPI_TIMODE_DISABLE;
  hspi1.Init.CRCCalculation = SPI_CRCCALCULATION_DISABLE;
  hspi1.Init.CRCPolynomial = 7;
  if (HAL_SPI_Init(&hspi1) != HAL_OK)
  {
    Error_Handler();
  }

}

static void MX_SPI2_Init(void)
{

  /* SPI2 parameter configuration*/
  hspi2.Instance = SPI2;
  hspi2.Init.Mode = SPI_MODE_MASTER;
  hspi2.Init.Direction = SPI_DIRECTION_2LINES;
  hspi2.Init.DataSize = SPI_DATASIZE_8BIT;
  hspi2.Init.CLKPolarity = SPI_POLARITY_LOW;
  hspi2.Init.CLKPhase = SPI_PHASE_1EDGE;
  hspi2.Init.NSS = SPI_NSS_SOFT;
  hspi2.Init.BaudRatePrescaler = SPI_BAUDRATEPRESCALER_2;
  hspi2.Init.FirstBit = SPI_FIRSTBIT_MSB;
  hspi2.Init.TIMode = SPI_TIMODE_DISABLE;
  hspi2.Init.CRCCalculation = SPI_CRCCALCULATION_DISABLE;
  hspi2.Init.CRCPolynomial = 7;
  if (HAL_SPI_Init(&hspi2) != HAL_OK)
  {
    Error_Handler();
  }

}

static void MX_TIM2_Init(void)
{

  TIM_MasterConfigTypeDef sMasterConfig = {0};
  TIM_OC_InitTypeDef sConfigOC = {0};

  htim2.Instance = TIM2;
  htim2.Init.Prescaler = 3200-1;
  htim2.Init.CounterMode = TIM_COUNTERMODE_UP;
  htim2.Init.Period = 100-1;
  htim2.Init.ClockDivision = TIM_CLOCKDIVISION_DIV1;
  htim2.Init.AutoReloadPreload = TIM_AUTORELOAD_PRELOAD_DISABLE;
  if (HAL_TIM_PWM_Init(&htim2) != HAL_OK)
  {
    Error_Handler();
  }
  sMasterConfig.MasterOutputTrigger = TIM_TRGO_RESET;
  sMasterConfig.MasterSlaveMode = TIM_MASTERSLAVEMODE_DISABLE;
  if (HAL_TIMEx_MasterConfigSynchronization(&htim2, &sMasterConfig) != HAL_OK)
  {
    Error_Handler();
  }
  sConfigOC.OCMode = TIM_OCMODE_PWM1;
  sConfigOC.Pulse = 0;
  sConfigOC.OCPolarity = TIM_OCPOLARITY_HIGH;
  sConfigOC.OCFastMode = TIM_OCFAST_DISABLE;
  if (HAL_TIM_PWM_ConfigChannel(&htim2, &sConfigOC, TIM_CHANNEL_1) != HAL_OK)
  {
    Error_Handler();
  }
  HAL_TIM_MspPostInit(&htim2);

}

static void MX_TIM3_Init(void)
{

  TIM_MasterConfigTypeDef sMasterConfig = {0};
  TIM_OC_InitTypeDef sConfigOC = {0};

  htim3.Instance = TIM3;
  htim3.Init.Prescaler = 3200-1;
  htim3.Init.CounterMode = TIM_COUNTERMODE_UP;
  htim3.Init.Period = 100-1;
  htim3.Init.ClockDivision = TIM_CLOCKDIVISION_DIV1;
  htim3.Init.AutoReloadPreload = TIM_AUTORELOAD_PRELOAD_DISABLE;
  if (HAL_TIM_PWM_Init(&htim3) != HAL_OK)
  {
    Error_Handler();
  }
  sMasterConfig.MasterOutputTrigger = TIM_TRGO_RESET;
  sMasterConfig.MasterSlaveMode = TIM_MASTERSLAVEMODE_DISABLE;
  if (HAL_TIMEx_MasterConfigSynchronization(&htim3, &sMasterConfig) != HAL_OK)
  {
    Error_Handler();
  }
  sConfigOC.OCMode = TIM_OCMODE_PWM1;
  sConfigOC.Pulse = 0;
  sConfigOC.OCPolarity = TIM_OCPOLARITY_HIGH;
  sConfigOC.OCFastMode = TIM_OCFAST_DISABLE;
  if (HAL_TIM_PWM_ConfigChannel(&htim3, &sConfigOC, TIM_CHANNEL_1) != HAL_OK)
  {
    Error_Handler();
  }
  if (HAL_TIMEx_RemapConfig(&htim3, TIM3_TI1_GPIO) != HAL_OK)
  {
    Error_Handler();
  }
  if (HAL_TIM_PWM_ConfigChannel(&htim3, &sConfigOC, TIM_CHANNEL_2) != HAL_OK)
  {
    Error_Handler();
  }
  if (HAL_TIM_PWM_ConfigChannel(&htim3, &sConfigOC, TIM_CHANNEL_3) != HAL_OK)
  {
    Error_Handler();
  }
  if (HAL_TIM_PWM_ConfigChannel(&htim3, &sConfigOC, TIM_CHANNEL_4) != HAL_OK)
  {
    Error_Handler();
  }
  HAL_TIM_MspPostInit(&htim3);

}

static void MX_USART1_UART_Init(void)
{

  huart1.Instance = USART1;
  huart1.Init.BaudRate = 9600;
  huart1.Init.WordLength = UART_WORDLENGTH_8B;
  huart1.Init.StopBits = UART_STOPBITS_1;
  huart1.Init.Parity = UART_PARITY_NONE;
  huart1.Init.Mode = UART_MODE_TX_RX;
  huart1.Init.HwFlowCtl = UART_HWCONTROL_NONE;
  huart1.Init.OverSampling = UART_OVERSAMPLING_16;
  huart1.Init.OneBitSampling = UART_ONE_BIT_SAMPLE_DISABLE;
  huart1.AdvancedInit.AdvFeatureInit = UART_ADVFEATURE_NO_INIT;
  if (HAL_UART_Init(&huart1) != HAL_OK)
  {
    Error_Handler();
  }

}

static void MX_USART2_UART_Init(void)
{

  huart2.Instance = USART2;
  huart2.Init.BaudRate = 9600;
  huart2.Init.WordLength = UART_WORDLENGTH_8B;
  huart2.Init.StopBits = UART_STOPBITS_1;
  huart2.Init.Parity = UART_PARITY_NONE;
  huart2.Init.Mode = UART_MODE_RX;
  huart2.Init.HwFlowCtl = UART_HWCONTROL_NONE;
  huart2.Init.OverSampling = UART_OVERSAMPLING_16;
  huart2.Init.OneBitSampling = UART_ONE_BIT_SAMPLE_DISABLE;
  huart2.AdvancedInit.AdvFeatureInit = UART_ADVFEATURE_NO_INIT;
  if (HAL_UART_Init(&huart2) != HAL_OK)
  {
    Error_Handler();
  }

}

static void MX_GPIO_Init(void)
{
  GPIO_InitTypeDef GPIO_InitStruct = {0};

  /* GPIO Ports Clock Enable */
  __HAL_RCC_GPIOH_CLK_ENABLE();
  __HAL_RCC_GPIOC_CLK_ENABLE();
  __HAL_RCC_GPIOA_CLK_ENABLE();
  __HAL_RCC_GPIOB_CLK_ENABLE();

  /*Configure GPIO pin Output Level */
  HAL_GPIO_WritePin(GPS_NRST_GPIO_Port, GPS_NRST_Pin, GPIO_PIN_RESET);

  /*Configure GPIO pin Output Level */
  HAL_GPIO_WritePin(GPIOB, SPI2_NCS_Pin|TIM4_CH3_Pin, GPIO_PIN_RESET);

  /*Configure GPIO pin Output Level */
  HAL_GPIO_WritePin(GPIOA, BT_RESET_Pin|SD_CS_Pin, GPIO_PIN_RESET);

  /*Configure GPIO pin : ACC_INT_Pin */
  GPIO_InitStruct.Pin = ACC_INT_Pin;
  GPIO_InitStruct.Mode = GPIO_MODE_IT_RISING;
  GPIO_InitStruct.Pull = GPIO_NOPULL;
  HAL_GPIO_Init(ACC_INT_GPIO_Port, &GPIO_InitStruct);

  /*Configure GPIO pin : GPS_PPS_Pin */
  GPIO_InitStruct.Pin = GPS_PPS_Pin;
  GPIO_InitStruct.Mode = GPIO_MODE_INPUT;
  GPIO_InitStruct.Pull = GPIO_NOPULL;
  HAL_GPIO_Init(GPS_PPS_GPIO_Port, &GPIO_InitStruct);

  /*Configure GPIO pin : GPS_NRST_Pin */
  GPIO_InitStruct.Pin = GPS_NRST_Pin;
  GPIO_InitStruct.Mode = GPIO_MODE_OUTPUT_PP;
  GPIO_InitStruct.Pull = GPIO_NOPULL;
  GPIO_InitStruct.Speed = GPIO_SPEED_FREQ_LOW;
  HAL_GPIO_Init(GPS_NRST_GPIO_Port, &GPIO_InitStruct);

  /*Configure GPIO pins : SPI2_NCS_Pin TIM4_CH3_Pin */
  GPIO_InitStruct.Pin = SPI2_NCS_Pin|TIM4_CH3_Pin;
  GPIO_InitStruct.Mode = GPIO_MODE_OUTPUT_PP;
  GPIO_InitStruct.Pull = GPIO_NOPULL;
  GPIO_InitStruct.Speed = GPIO_SPEED_FREQ_LOW;
  HAL_GPIO_Init(GPIOB, &GPIO_InitStruct);

  /*Configure GPIO pins : BT_RESET_Pin SD_CS_Pin */
  GPIO_InitStruct.Pin = BT_RESET_Pin|SD_CS_Pin;
  GPIO_InitStruct.Mode = GPIO_MODE_OUTPUT_PP;
  GPIO_InitStruct.Pull = GPIO_NOPULL;
  GPIO_InitStruct.Speed = GPIO_SPEED_FREQ_LOW;
  HAL_GPIO_Init(GPIOA, &GPIO_InitStruct);

}

void Error_Handler(void)
{
  __disable_irq();
  while (1)
  {
  }
}

/************************ (C) COPYRIGHT STMicroelectronics *****END OF FILE****/
